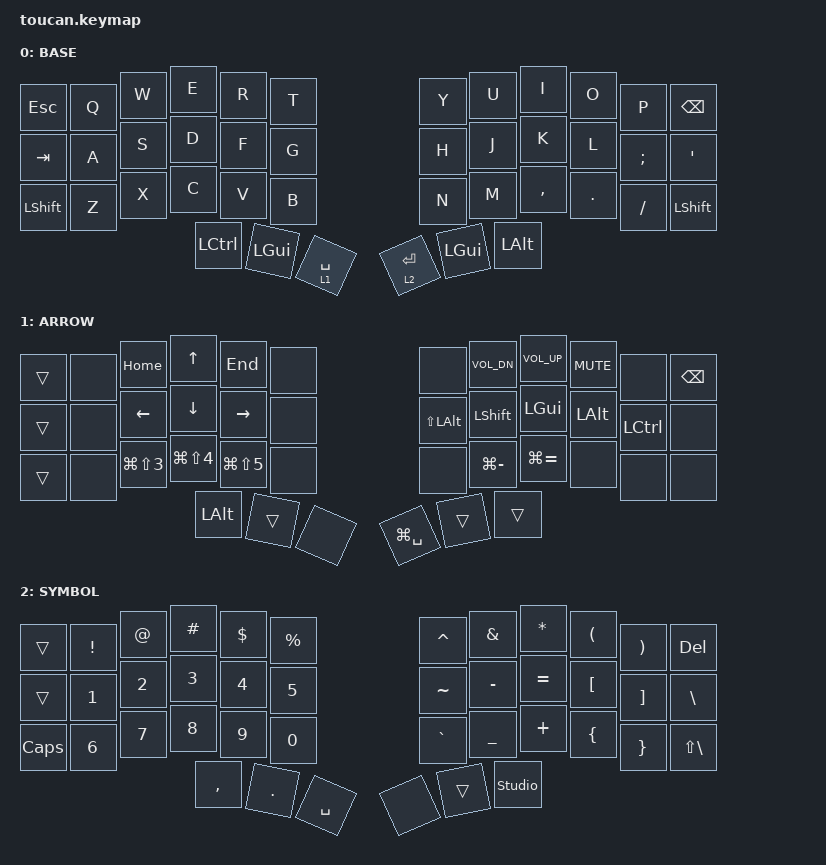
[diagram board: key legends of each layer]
#include <behaviors.dtsi>
#include <dt-bindings/zmk/keys.h>
#include <dt-bindings/zmk/bt.h>
#include <dt-bindings/zmk/outputs.h>

#define BASE 0
#define ARROW 1
#define SYMBOL 2

&mt {
    flavor = "tap-preferred"; // change hold to tap
    tapping-term-ms = <250>; // 連続タップ
    quick-tap-ms = <200>;
};

&lt {
    flavor = "tap-preferred";
    tapping-term-ms = <250>;
    quick-tap-ms = <200>;
    require-prior-idle-ms = <150>;
};

/ {

    combos {
        compatible = "zmk,combos";

        bootloader {
            bindings = <&bootloader>;
            key-positions = <0 36>;
            layers = <1 2>;
        };

        BT_0 {
            bindings = <&bt BT_SEL 0>;
            key-positions = <13 36>;
            layers = <1 2>;
        };

        BT_1 {
            bindings = <&bt BT_SEL 1>;
            key-positions = <25 36>;
            layers = <1 2>;
        };
    };

    conditional_layers {
        compatible = "zmk,conditional-layers";
        tri_layer {
            if-layers = <1 2>;
            then-layer = <3>;
        };
    };

    keymap {
        compatible = "zmk,keymap";

        base {
            display-name = "BASE";
            bindings = <
                &kp ESCAPE  &kp Q  &kp W  &kp E  &kp R  &kp T   &kp Y  &kp U  &kp I      &kp O    &kp P      &kp BSPC
                &kp TAB     &kp A  &kp S  &kp D  &kp F  &kp G   &kp H  &kp J  &kp K      &kp L    &kp SEMI   &kp SQT
                &kp LSHFT   &kp Z  &kp X  &kp C  &kp V  &kp B   &kp N  &kp M  &kp COMMA  &kp DOT  &kp SLASH  &kp LSHFT
                         &kp LCTRL  &kp LGUI  &lt 1 SPACE  &lt 2 ENTER  &kp LGUI  &kp LALT
            >;
        };

        arrow {
            display-name = "ARROW";
            bindings = <
                &trans  &none  &kp HOME        &kp UP          &kp END         &none   &none         &kp C_VOL_DN  &kp C_VOL_UP   &kp C_MUTE  &none      &kp BSPC
                &trans  &none  &kp LEFT        &kp DOWN        &kp RIGHT       &none   &kp LS(LALT)  &kp LSHFT     &kp LGUI       &kp LALT    &kp LCTRL  &none
                &trans  &none  &kp LG(LS(N3))  &kp LG(LS(N4))  &kp LG(LS(N5))  &none   &none         &kp LG(MINUS) &kp LG(EQUAL)  &none       &none      &none
                            &kp LALT        &trans          &none                     &kp LG(SPACE)      &trans         &trans
            >;
        };

        symbol {
            display-name = "SYMBOL";
            bindings = <
                &trans        &kp EXCL   &kp AT   &kp HASH  &kp DLLR  &kp PRCNT    &kp CARET  &kp AMPS        &kp STAR   &kp LPAR  &kp RPAR  &kp DEL
                &trans        &kp N1     &kp N2   &kp N3    &kp N4    &kp N5       &kp TILDE  &kp MINUS       &kp EQUAL  &kp LBKT  &kp RBKT  &kp BACKSLASH
                &kp CAPSLOCK  &kp N6     &kp N7   &kp N8    &kp N9    &kp N0       &kp GRAVE  &kp UNDERSCORE  &kp PLUS   &kp LBRC  &kp RBRC  &kp LS(BACKSLASH)
                              &kp COMMA      &kp DOT      &kp SPACE                      &none           &trans           &studio_unlock
            >;
        };

        extra_1 {
                status = "reserved";
        };

        extra_2 {
                status = "reserved";
        };

        extra_3 {
                status = "reserved";
        };
    };
};
